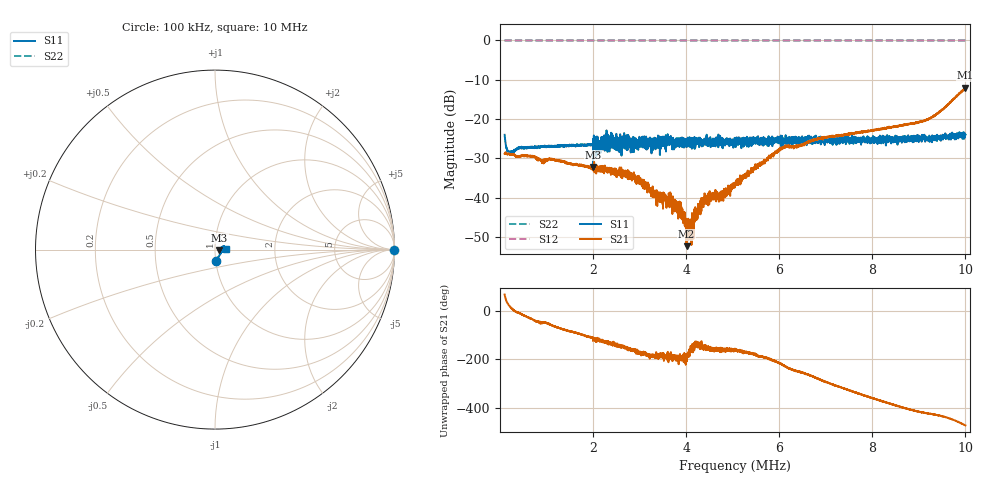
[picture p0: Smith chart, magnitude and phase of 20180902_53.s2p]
! Anritsu VNA Master:  Model: MS2026C/19
! SN:  1815009
! /card0/usr/20180902_53.s2p
! Existing Calibration Information:
! TYPE:  Current Settings,  Active Cal Settings
! TIME:  09/03/2018 01:48:07 AM,  09/02/2018 11:58:48 AM
! INTERNAL TEMP:  49.8 C,  48.8 C
! # POINTS:  4001,  4001
! START FREQ:  100.000 kHz,  100.000 kHz
! STOP FREQ:  10.000 MHz,  10.000 MHz
! SOURCE POWER:  Low,  Low
! IFBW:  500 Hz,  500 Hz
! AVG FACTOR:  5 ,  1
! REF PLANE 1:  0 mm,  0 mm
! REF PLANE 2:  0 mm,  0 mm
! CAL TYPE:  1P2P S11,S21,  1P2P S11,S21
! CAL METHOD:  SOLT,  SOLT
! CAL LINE TYPE:  Coax,  Coax
! DUT PORT 1:  N-Conn(M),  N-Conn(M)
! DUT PORT 2:  N-Conn(M),  N-Conn(M)
! CAL STATUS:  OK: Accuracy High,  --
# GHZ S RI R 50.0
! FREQ.GHZ  S11RE  S11IM  S21RE  S21IM  S12RE  S12IM  S22RE  S22IM
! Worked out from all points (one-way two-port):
!   4001 points, 100 kHz to 10 MHz, reference 50 ohm
!   highest |S21| = -12.05 dB at 9.998 MHz (marker M1); lowest = -52.4 dB at 4.008 MHz (marker M2)
!   lowest |S11| = -32.2 dB at 2.001 MHz (marker M3), VSWR 1.05, Z = 52.5 - j0.145 ohm
!   |S11| at or under -10 dB: start of sweep to end of sweep
!   |S22| runs from 0.0 to 0.0 dB; largest |S21 - S12| = 1.1
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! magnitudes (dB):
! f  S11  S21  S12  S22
! 100 kHz  -24.0  -28.9  0.0  0.0
! 169.3 kHz  -28.0  -29.0  0.0  0.0
! 228.7 kHz  -28.5  -28.9  0.0  0.0
! 453.9 kHz  -27.4  -29.4  0.0  0.0
! 1.751 MHz  -26.6  -31.7  0.0  0.0
! 2.001 MHz  -32.2  -32.2  0.0  0.0
! 2.842 MHz  -26.2  -34.6  0.0  0.0
! 3.402 MHz  -26.6  -39.5  0.0  0.0
! 3.639 MHz  -26.5  -41.1  0.0  0.0
! 3.815 MHz  -26.6  -41.5  0.0  0.0
! 4.008 MHz  -25.9  -52.4  0.0  0.0
! 4.114 MHz  -25.2  -52.1  0.0  0.0
! 4.221 MHz  -26.4  -45.7  0.0  0.0
! 4.379 MHz  -25.9  -40.1  0.0  0.0
! 4.751 MHz  -25.2  -39.2  0.0  0.0
! 5.05 MHz  -25.3  -36.4  0.0  0.0
! 6.038 MHz  -25.8  -27.5  0.0  0.0
! 6.701 MHz  -25.4  -25.6  0.0  0.0
! 8.352 MHz  -25.6  -22.1  0.0  0.0
! 9.228 MHz  -25.0  -19.8  0.0  0.0
! 9.998 MHz  -24.2  -12.0  0.0  0.0
! 10 MHz  -24.0  -12.2  0.0  0.0
